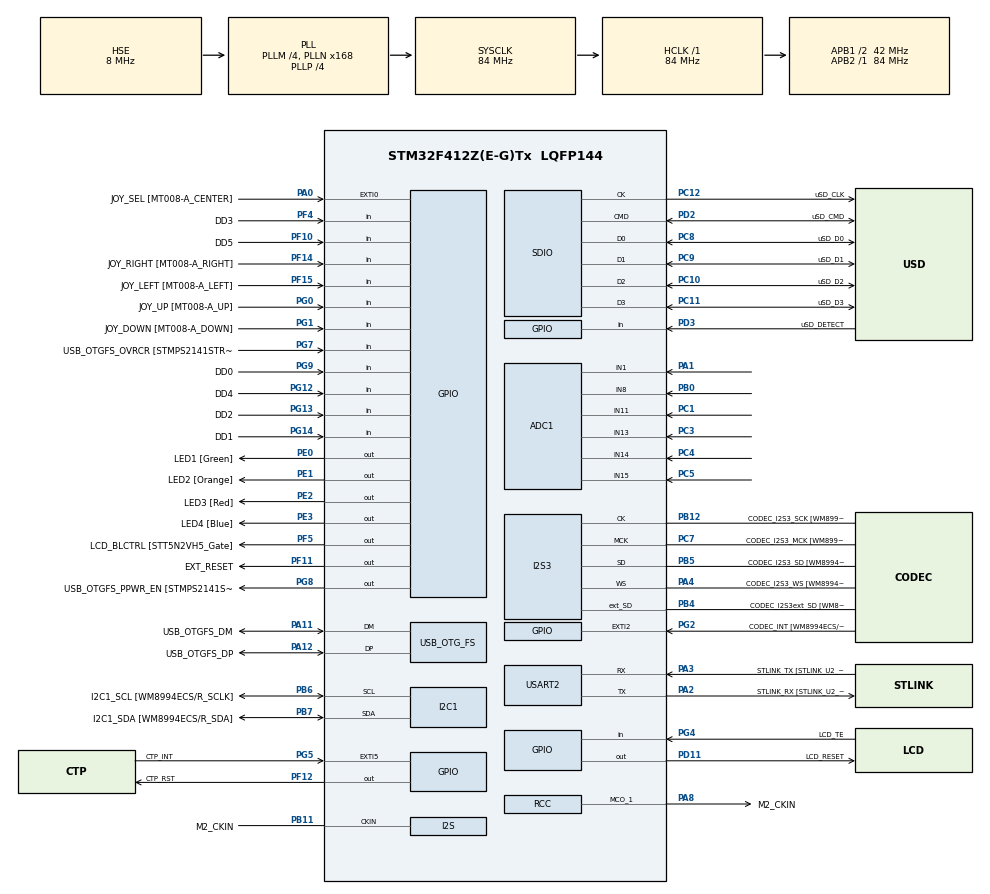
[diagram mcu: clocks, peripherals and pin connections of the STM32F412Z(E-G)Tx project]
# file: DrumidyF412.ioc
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ADC1.Channel-0\#ChannelRegularConversion=ADC_CHANNEL_1
ADC1.Channel-1\#ChannelRegularConversion=ADC_CHANNEL_11
ADC1.Channel-2\#ChannelRegularConversion=ADC_CHANNEL_13
ADC1.Channel-3\#ChannelRegularConversion=ADC_CHANNEL_14
ADC1.Channel-4\#ChannelRegularConversion=ADC_CHANNEL_15
ADC1.Channel-5\#ChannelRegularConversion=ADC_CHANNEL_8
ADC1.ClockPrescaler=ADC_CLOCK_SYNC_PCLK_DIV6
ADC1.ContinuousConvMode=DISABLE
ADC1.DMAContinuousRequests=ENABLE
ADC1.DiscontinuousConvMode=DISABLE
ADC1.EOCSelection=ADC_EOC_SINGLE_CONV
ADC1.NbrOfConversion=6
ADC1.NbrOfConversionFlag=1
ADC1.Rank-0\#ChannelRegularConversion=1
ADC1.Rank-1\#ChannelRegularConversion=2
ADC1.Rank-2\#ChannelRegularConversion=3
ADC1.Rank-3\#ChannelRegularConversion=4
ADC1.Rank-4\#ChannelRegularConversion=5
ADC1.Rank-5\#ChannelRegularConversion=6
ADC1.SamplingTime-0\#ChannelRegularConversion=ADC_SAMPLETIME_15CYCLES
ADC1.SamplingTime-1\#ChannelRegularConversion=ADC_SAMPLETIME_15CYCLES
ADC1.SamplingTime-2\#ChannelRegularConversion=ADC_SAMPLETIME_15CYCLES
ADC1.SamplingTime-3\#ChannelRegularConversion=ADC_SAMPLETIME_15CYCLES
ADC1.SamplingTime-4\#ChannelRegularConversion=ADC_SAMPLETIME_15CYCLES
ADC1.SamplingTime-5\#ChannelRegularConversion=ADC_SAMPLETIME_15CYCLES
ADC1.ScanConvMode=ENABLE
ADC1.master=1
Dma.ADC1.0.Direction=DMA_PERIPH_TO_MEMORY
Dma.ADC1.0.FIFOMode=DMA_FIFOMODE_DISABLE
Dma.ADC1.0.Instance=DMA2_Stream0
Dma.ADC1.0.MemDataAlignment=DMA_MDATAALIGN_WORD
Dma.ADC1.0.MemInc=DMA_MINC_ENABLE
Dma.ADC1.0.Mode=DMA_NORMAL
Dma.ADC1.0.PeriphDataAlignment=DMA_PDATAALIGN_WORD
Dma.ADC1.0.PeriphInc=DMA_PINC_DISABLE
Dma.ADC1.0.Priority=DMA_PRIORITY_LOW
Dma.Request0=ADC1
Dma.Request1=SPI3_TX
Dma.Request2=SDIO
Dma.SDIO.2.Direction=DMA_PERIPH_TO_MEMORY
Dma.SDIO.2.FIFOMode=DMA_FIFOMODE_ENABLE
Dma.SDIO.2.FIFOThreshold=DMA_FIFO_THRESHOLD_FULL
Dma.SDIO.2.Instance=DMA2_Stream3
Dma.SDIO.2.MemBurst=DMA_MBURST_INC4
Dma.SDIO.2.MemDataAlignment=DMA_MDATAALIGN_WORD
Dma.SDIO.2.MemInc=DMA_MINC_ENABLE
Dma.SDIO.2.Mode=DMA_PFCTRL
Dma.SDIO.2.PeriphBurst=DMA_PBURST_INC4
Dma.SDIO.2.PeriphDataAlignment=DMA_PDATAALIGN_WORD
Dma.SDIO.2.PeriphInc=DMA_PINC_DISABLE
Dma.SDIO.2.Priority=DMA_PRIORITY_HIGH
Dma.SPI3_TX.1.Direction=DMA_MEMORY_TO_PERIPH
Dma.SPI3_TX.1.FIFOMode=DMA_FIFOMODE_ENABLE
Dma.SPI3_TX.1.FIFOThreshold=DMA_FIFO_THRESHOLD_FULL
Dma.SPI3_TX.1.Instance=DMA1_Stream5
Dma.SPI3_TX.1.MemBurst=DMA_MBURST_SINGLE
Dma.SPI3_TX.1.MemDataAlignment=DMA_MDATAALIGN_HALFWORD
Dma.SPI3_TX.1.MemInc=DMA_MINC_ENABLE
Dma.SPI3_TX.1.Mode=DMA_CIRCULAR
Dma.SPI3_TX.1.PeriphBurst=DMA_PBURST_SINGLE
Dma.SPI3_TX.1.PeriphDataAlignment=DMA_PDATAALIGN_HALFWORD
Dma.SPI3_TX.1.PeriphInc=DMA_PINC_DISABLE
Dma.SPI3_TX.1.Priority=DMA_PRIORITY_VERY_HIGH
FATFS.BSP.number=1
FATFS.USE_DMA_CODE_SD=1
FATFS0.BSP.STBoard=false
FATFS0.BSP.api=Unknown
FATFS0.BSP.i2caddr=0
FATFS0.BSP.instance=PD3
FATFS0.BSP.ip=GPIO
FATFS0.BSP.mode=Input
FATFS0.BSP.name=Detect_SDIO
FATFS0.BSP.solution=PD3
I2S3.AudioFreq=I2S_AUDIOFREQ_48K
I2S3.ErrorAudioFreq=0.19 %
I2S3.FullDuplexMode=I2S_FULLDUPLEXMODE_ENABLE
I2S3.Instance=SPI$Index
I2S3.RealAudioFreq=48.095 KHz
I2S3.VirtualMode=I2S_MODE_MASTER
Mcu.Family=STM32F4
Mcu.Name=STM32F412Z(E-G)Tx
Mcu.Package=LQFP144
NVIC.ADC_IRQn=true\:0\:0\:false\:false\:true\:true\:true
NVIC.DMA1_Stream5_IRQn=true\:0\:0\:false\:false\:true\:false\:true
NVIC.DMA2_Stream0_IRQn=true\:1\:0\:true\:false\:true\:false\:true
NVIC.DMA2_Stream3_IRQn=true\:1\:0\:true\:false\:true\:false\:true
NVIC.OTG_FS_IRQn=true\:0\:0\:false\:false\:true\:true\:true
NVIC.PriorityGroup=NVIC_PRIORITYGROUP_4
NVIC.SDIO_IRQn=true\:1\:0\:true\:false\:true\:true\:true
NVIC.SPI3_IRQn=true\:1\:0\:true\:false\:true\:true\:true
NVIC.TIM2_IRQn=true\:0\:0\:false\:false\:true\:true\:true
NVIC.TIM4_IRQn=true\:0\:0\:false\:false\:true\:true\:true
NVIC.USART2_IRQn=true\:0\:0\:false\:false\:true\:true\:true
PA0.GPIO_Label=JOY_SEL [MT008-A_CENTER]
PA0.Signal=GPXTI0
PA1.Signal=ADCx_IN1
PA11.GPIO_Label=USB_OTGFS_DM
PA11.Mode=Device_Only
PA11.Signal=USB_OTG_FS_DM
PA12.GPIO_Label=USB_OTGFS_DP
PA12.Mode=Device_Only
PA12.Signal=USB_OTG_FS_DP
PA13.GPIO_Label=SWDIO
PA13.Mode=Serial_Wire
PA13.Signal=SYS_JTMS-SWDIO
PA14.GPIO_Label=SWCLK
PA14.Mode=Serial_Wire
PA14.Signal=SYS_JTCK-SWCLK
PA2.GPIO_Label=STLINK_RX [STLINK_U2_RX]
PA2.Mode=Asynchronous
PA2.Signal=USART2_TX
PA3.GPIO_Label=STLINK_TX [STLINK_U2_TX]
PA3.Mode=Asynchronous
PA3.Signal=USART2_RX
PA4.GPIO_Label=CODEC_I2S3_WS [WM8994ECS/R_LRCLK1]
PA4.Mode=Full_Duplex_Master
PA4.Signal=I2S3_WS
PA8.GPIO_Label=M2_CKIN
PA8.Mode=Clock-out-1
PA8.Signal=RCC_MCO_1
PB0.Signal=ADCx_IN8
PB10.GPIO_Label=I2C2_SCL
PB10.Signal=I2C2_SCL
PB11.GPIO_Label=M2_CKIN
PB11.Mode=Audio_ClockIn
PB11.Signal=I2S_CKIN
PB12.GPIO_Label=CODEC_I2S3_SCK [WM8994ECS/R_BCLK1]
PB12.Mode=Full_Duplex_Master
PB12.Signal=I2S3_CK
PB3.GPIO_Label=SWO
PB3.Signal=SYS_JTDO-SWO
PB4.GPIO_Label=CODEC_I2S3ext_SD [WM8994ECS/R_ACDAT1]
PB4.Mode=Full_Duplex_Master
PB4.Signal=I2S3_ext_SD
PB5.GPIO_Label=CODEC_I2S3_SD [WM8994ECS/R_DACDAT1]
PB5.Mode=Full_Duplex_Master
PB5.Signal=I2S3_SD
PB6.GPIO_Label=I2C1_SCL [WM8994ECS/R_SCLK]
PB6.GPIO_Pu=GPIO_PULLUP
PB6.Mode=I2C
PB6.Signal=I2C1_SCL
PB7.GPIO_Label=I2C1_SDA [WM8994ECS/R_SDA]
PB7.GPIO_Pu=GPIO_PULLUP
PB7.Mode=I2C
PB7.Signal=I2C1_SDA
PB9.GPIO_Label=I2C2_SDA
PB9.Signal=I2C2_SDA
PC1.Signal=ADCx_IN11
PC10.GPIO_Label=uSD_D2
PC10.Mode=SD_4_bits_Wide_bus
PC10.Signal=SDIO_D2
PC11.GPIO_Label=uSD_D3
PC11.Mode=SD_4_bits_Wide_bus
PC11.Signal=SDIO_D3
PC12.GPIO_Label=uSD_CLK
PC12.Mode=SD_4_bits_Wide_bus
PC12.Signal=SDIO_CK
PC14-OSC32_IN.Mode=LSE-External-Oscillator
PC14-OSC32_IN.Signal=RCC_OSC32_IN
PC15-OSC32_OUT.Mode=LSE-External-Oscillator
PC15-OSC32_OUT.Signal=RCC_OSC32_OUT
PC3.Signal=ADCx_IN13
PC4.Signal=ADCx_IN14
PC5.Signal=ADCx_IN15
PC7.GPIO_Label=CODEC_I2S3_MCK [WM8994ECS/R_MCLK1]
PC7.Mode=Master_Clock_Activated
PC7.Signal=I2S3_MCK
PC8.GPIO_Label=uSD_D0
PC8.Mode=SD_4_bits_Wide_bus
PC8.Signal=SDIO_D0
PC9.GPIO_Label=uSD_D1
PC9.Mode=SD_4_bits_Wide_bus
PC9.Signal=SDIO_D1
PD11.GPIO_Label=LCD_RESET
PD11.Signal=GPIO_Output
PD2.GPIO_Label=uSD_CMD
PD2.Mode=SD_4_bits_Wide_bus
PD2.Signal=SDIO_CMD
PD3.GPIO_Label=uSD_DETECT
PD3.Signal=GPIO_Input
PE0.GPIO_Label=LED1 [Green]
PE0.GPIO_ModeDefaultOutputPP=GPIO_MODE_OUTPUT_OD
PE0.Signal=GPIO_Output
PE1.GPIO_Label=LED2 [Orange]
PE1.GPIO_ModeDefaultOutputPP=GPIO_MODE_OUTPUT_OD
PE1.Signal=GPIO_Output
PE2.GPIO_Label=LED3 [Red]
PE2.GPIO_ModeDefaultOutputPP=GPIO_MODE_OUTPUT_OD
PE2.Signal=GPIO_Output
PE3.GPIO_Label=LED4 [Blue]
PE3.GPIO_ModeDefaultOutputPP=GPIO_MODE_OUTPUT_OD
PE3.Signal=GPIO_Output
PF10.GPIO_Label=DD5
PF10.GPIO_PuPd=GPIO_PULLUP
PF10.Signal=GPIO_Input
PF11.GPIO_Label=EXT_RESET
PF11.Signal=GPIO_Output
PF12.GPIO_Label=CTP_RST
PF12.Signal=GPIO_Output
PF14.GPIO_Label=JOY_RIGHT [MT008-A_RIGHT]
PF14.Signal=GPIO_Input
PF15.GPIO_Label=JOY_LEFT [MT008-A_LEFT]
PF15.Signal=GPIO_Input
PF4.GPIO_Label=DD3
PF4.GPIO_PuPd=GPIO_PULLUP
PF4.Signal=GPIO_Input
PF5.GPIO_Label=LCD_BLCTRL [STT5N2VH5_Gate]
PF5.Signal=GPIO_Output
PG0.GPIO_Label=JOY_UP [MT008-A_UP]
PG0.Signal=GPIO_Input
PG1.GPIO_Label=JOY_DOWN [MT008-A_DOWN]
PG1.Signal=GPIO_Input
PG12.GPIO_Label=DD4
PG12.GPIO_PuPd=GPIO_PULLUP
PG12.Signal=GPIO_Input
PG13.GPIO_Label=DD2
PG13.GPIO_PuPd=GPIO_PULLUP
PG13.Signal=GPIO_Input
PG14.GPIO_Label=DD1
PG14.GPIO_PuPd=GPIO_PULLUP
PG14.Signal=GPIO_Input
PG2.GPIO_Label=CODEC_INT [WM8994ECS/R_ADCLRCLK1/GPIO1]
PG2.Signal=GPXTI2
PG4.GPIO_Label=LCD_TE
PG4.Signal=GPIO_Input
PG5.GPIO_Label=CTP_INT
PG5.Signal=GPXTI5
PG7.GPIO_Label=USB_OTGFS_OVRCR [STMPS2141STR_FAULT]
PG7.Signal=GPIO_Input
PG8.GPIO_Label=USB_OTGFS_PPWR_EN [STMPS2141STR_EN]
PG8.GPIO_ModeDefaultOutputPP=GPIO_MODE_OUTPUT_OD
PG8.PinState=GPIO_PIN_SET
PG8.Signal=GPIO_Output
PG9.GPIO_Label=DD0
PG9.GPIO_PuPd=GPIO_PULLUP
PG9.Signal=GPIO_Input
PH0\ -\ OSC_IN.GPIO_Label=STLK_MCO
PH0\ -\ OSC_IN.Mode=HSE-External-Clock-Source
PH0\ -\ OSC_IN.Signal=RCC_OSC_IN
PH1\ -\ OSC_OUT.Mode=HSE-External-Clock-Source
PH1\ -\ OSC_OUT.Signal=RCC_OSC_OUT
ProjectManager.HeapSize=0x400
ProjectManager.StackSize=0x800
ProjectManager.TargetToolchain=STM32CubeIDE
RCC.48MHZClocksFreq_Value=48000000
RCC.AHBFreq_Value=84000000
RCC.APB1CLKDivider=RCC_HCLK_DIV2
RCC.APB1Freq_Value=42000000
RCC.APB1TimFreq_Value=84000000
RCC.APB2Freq_Value=84000000
RCC.APB2TimFreq_Value=84000000
RCC.CortexFreq_Value=84000000
RCC.HCLKFreq_Value=84000000
RCC.HSE_VALUE=8000000
RCC.HSI_VALUE=16000000
RCC.PLLI2SM=4
RCC.PLLI2SN=197
RCC.PLLI2SR=4
RCC.PLLM=4
RCC.PLLN=168
RCC.PLLP=RCC_PLLP_DIV4
RCC.PLLQ=7
RCC.SYSCLKFreq_VALUE=84000000
RCC.SYSCLKSource=RCC_SYSCLKSOURCE_PLLCLK
RCC.USBFreq_Value=48000000
RCC.VCOOutputFreq_Value=336000000
SDIO.ClockDiv=2
SH.ADCx_IN1.0=ADC1_IN1,IN1
SH.ADCx_IN11.0=ADC1_IN11,IN11
SH.ADCx_IN13.0=ADC1_IN13,IN13
SH.ADCx_IN14.0=ADC1_IN14,IN14
SH.ADCx_IN15.0=ADC1_IN15,IN15
SH.ADCx_IN8.0=ADC1_IN8,IN8
TIM2.AutoReloadPreload=TIM_AUTORELOAD_PRELOAD_ENABLE
TIM2.Period=30000000
TIM4.AutoReloadPreload=TIM_AUTORELOAD_PRELOAD_ENABLE
TIM4.Period=8400
USART2.VirtualMode=VM_ASYNC
USB_DEVICE.APP_RX_DATA_SIZE=1000
USB_DEVICE.APP_TX_DATA_SIZE=1000
USB_DEVICE.CLASS_NAME_FS=CDC
USB_DEVICE.CONFIGURATION_STRING_CDC_FS=Midi Config
USB_DEVICE.INTERFACE_STRING_CDC_FS=Midi Interface
USB_DEVICE.PRODUCT_STRING_CDC_FS=Drumidy v2.0
USB_DEVICE.VirtualMode=Cdc
USB_DEVICE.VirtualModeFS=Cdc_FS
USB_OTG_FS.VirtualMode=Device_Only
VP_FATFS_VS_SDIO.Mode=SDIO
VP_TIM2_VS_ClockSourceINT.Mode=Internal
VP_TIM4_VS_ClockSourceINT.Mode=Internal
VP_USB_DEVICE_VS_USB_DEVICE_CDC_FS.Mode=CDC_FS
board=STM32F412G-DISCO

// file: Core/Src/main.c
/* USER CODE BEGIN Header */
/**
  ******************************************************************************
  * @file           : main.c
  * @brief          : Main program body
  ******************************************************************************
  * @attention
  *
  * Copyright (c) 2023 STMicroelectronics.
  * All rights reserved.
  *
  * This software is licensed under terms that can be found in the LICENSE file
  * in the root directory of this software component.
  * If no LICENSE file comes with this software, it is provided AS-IS.
  *
  ******************************************************************************
  */
/* USER CODE END Header */
#include "main.h"
#include "fatfs.h"
#include "usb_device.h"

/* USER CODE BEGIN Includes */
#include <string.h>
#include <stdio.h>
#include <usbd_cdc.h>
#include "midi.h"
#include "drumidy.h"
#include "wavFile.h"
//#include "audioExample.h"
#include "audioFromSdCard.h"
/* USER CODE END Includes */

/* USER CODE BEGIN PTD */
#define OFF_DELAY_MS 200
#define FLASH_USER_START_ADDR 	0x08040000	//0x0804 0000 		//0x0801 F800
const volatile uint32_t *userConfig=(const volatile uint32_t *)FLASH_USER_START_ADDR;

#define NUMBER_OF_CHANNELS 6

char ASCIILOGO[] = "\n"\
"  ___                 _    _\n"\
" |   \\ _ _ _  _ _ __ (_)__| |_  _ \n"\
" | |) | '_| || | '  \\| / _` | || |\n"\
" |___/|_|  \\_,_|_|_|_|_\\__,_|\\_, |\n"\
"     .-.,     ,--. ,--.      |__/ \n"\
"    `/|~\\     \\__/T`--'     . \n"\
"    x |`' __   ,-~^~-.___ ==I== \n"\
"      |  |--| /       \\__}  | \n"\
"      |  |  |{   /~\\   }    | \n"\
"     /|\\ \\__/ \\  \\_/  /|   /|\\ \n"\
"    / | \\|  | /`~-_-~'X.\\ //| \\ \n\n"\
"= Send any char for configuration =\n";

/* USER CODE END PTD */

/* USER CODE BEGIN PD */

DRUM channel[NUMBER_OF_CHANNELS];	// array of drums

// ADC buffers0
uint32_t adc_buf[NUMBER_OF_CHANNELS];
// channel values
uint16_t adc_val[NUMBER_OF_CHANNELS];

GPIO_PinState aux_current_state[NUMBER_OF_CHANNELS];

uint32_t saved_config[64];

char buffer_out[1000];			// USB Buffers
uint8_t buffer_in[64];

// MIDI operation
uint8_t upd_active_sens = 0;	//flag for active sense, triggered every 300ms
uint8_t config_Mode[1] = {0};		// flag for activating config over serial

/* USER CODE END PD */

ADC_HandleTypeDef hadc1;
DMA_HandleTypeDef hdma_adc1;

I2C_HandleTypeDef hi2c1;

I2S_HandleTypeDef hi2s3;
DMA_HandleTypeDef hdma_spi3_tx;

SD_HandleTypeDef hsd;
DMA_HandleTypeDef hdma_sdio;

TIM_HandleTypeDef htim2;
TIM_HandleTypeDef htim4;

UART_HandleTypeDef huart2;

void SystemClock_Config(void);
static void MX_GPIO_Init(void);
static void MX_DMA_Init(void);
static void MX_I2S3_Init(void);
static void MX_USART2_UART_Init(void);
static void MX_ADC1_Init(void);
static void MX_TIM2_Init(void);
static void MX_TIM4_Init(void);
static void MX_SDIO_SD_Init(void);
static void MX_I2C1_Init(void);
/* USER CODE BEGIN PFP */
uint8_t CDC_Transmit_FS(uint8_t* Buf, uint16_t Len);

void getAuxState(GPIO_PinState *_state);
void checkPiezoChannels();
void handleConfigFromUart(void);

void sendDebug (uint8_t _ch, uint8_t _aux);
uint8_t Save_Setting(uint8_t _rst);
uint8_t Load_Setting();
int get_num_from_uart(uint8_t _len);
uint8_t UartConfigDialog();

uint32_t dataReceivedSize = 0;
volatile char flag_New_Settings;
/* USER CODE END PFP */

/* USER CODE BEGIN 0 */
void HAL_TIM_PeriodElapsedCallback(TIM_HandleTypeDef *htim) {
	// 10kHz trigger, 0.1ms
	if (htim->Instance == htim4.Instance) {
		HAL_ADC_Start_DMA(&hadc1, (uint32_t*) &adc_buf[0], NUMBER_OF_CHANNELS);
	}

	// 3.33Hz active sensing, 300ms
	if (htim->Instance == htim2.Instance) {
		upd_active_sens = 1;
	}
}

void HAL_UART_RxCpltCallback(UART_HandleTypeDef *huart) {
	if (huart->Instance == huart2.Instance) {
		buffer_in[15] = 1;
	}
}

void HAL_ADC_ConvCpltCallback(ADC_HandleTypeDef *hadc) {
	if (hadc->Instance == hadc1.Instance) {
		for (uint8_t i = 0; i < NUMBER_OF_CHANNELS; i++) {
			adc_val[i] = adc_buf[i];
		}

		getAuxState(aux_current_state);

		setStepTime(HAL_GetTick());

		for (uint8_t i = 0; i < NUMBER_OF_CHANNELS; i++) {
			Update_channel(&channel[i], adc_val[i], aux_current_state[i]);
		}
	}
}
/* USER CODE END 0 */

int main(void)
{

  /* MCU Configuration--------------------------------------------------------*/

  /* Reset of all peripherals, Initializes the Flash interface and the Systick. */
  HAL_Init();

  /* Configure the system clock */
  SystemClock_Config();

  /* Initialize all configured peripherals */
  MX_GPIO_Init();
  MX_DMA_Init();
  MX_I2S3_Init();
  MX_USART2_UART_Init();
  MX_ADC1_Init();
  MX_TIM2_Init();
  MX_TIM4_Init();
  MX_USB_DEVICE_Init();
  MX_SDIO_SD_Init();
  MX_FATFS_Init();
  MX_I2C1_Init();
  /* USER CODE BEGIN 2 */

	HAL_ADC_Start(&hadc1);
	HAL_Delay(200);

	/// **************************
	/// ******* Defaul CFG *******
	/// **************************
	getAuxState(aux_current_state);

	initDrum(&channel[0], HHCLOSE, HHCLOSE, MESH_PAD_AUTOAUX, aux_current_state[0]);
	initDrum(&channel[1], TOMF, TOMF, MESH_PAD_AUTOAUX, aux_current_state[1]);
	initDrum(&channel[2], HHPEDAL, HHPEDAL, MESH_PAD_AUTOAUX, aux_current_state[2]);
	initDrum(&channel[3], TOM3, TOM3, MESH_PAD_AUTOAUX, aux_current_state[3]);
	initDrum(&channel[4], HHOPEN, HHOPEN, MESH_PAD_AUTOAUX, aux_current_state[4]);
	initDrum(&channel[5], TOM2, TOM2, MESH_PAD_AUTOAUX, aux_current_state[5]);
//  initDrum(&channel[6], TOMF , TOMF  	, MESH_PAD_AUTOAUX	, aux_current_state[6]);
//
//  // cymbals
//  initDrum(&channel[7], CRASH, CRASH 	, CYMBAL_MUTE			, aux_current_state[7]);	// CH7 aux disabled
//  initDrum(&channel[8], RIDE ,  BELL 	, CYMBAL_2_ZONE			, aux_current_state[8]);

	// === Previous Settings ===
	sendUart(ASCIILOGO);
	HAL_Delay(500);

	Load_Setting();

	// start waiting for serial commands
	HAL_Delay(200);
	config_Mode[0] = 0;
	HAL_UART_Receive_IT (&huart2, &config_Mode[0], 1);

	/// **************************
	/// ******* LETS ROCK! *******
	/// **************************
	HAL_TIM_Base_Start_IT(&htim2); //AS
	HAL_TIM_Base_Start_IT(&htim4); //ADC

	sdCardTextExample();

  /* USER CODE END 2 */

  /* Infinite loop */
  /* USER CODE BEGIN WHILE */
	while (1) {
		handleConfigFromUart();
		handleAudioStream();
		sendMidiActiveSense(&upd_active_sens);
		checkPiezoChannels();
    /* USER CODE END WHILE */

  }
}

void SystemClock_Config(void)
{
  RCC_OscInitTypeDef RCC_OscInitStruct = {0};
  RCC_ClkInitTypeDef RCC_ClkInitStruct = {0};

  /** Configure the main internal regulator output voltage
  */
  __HAL_RCC_PWR_CLK_ENABLE();
  __HAL_PWR_VOLTAGESCALING_CONFIG(PWR_REGULATOR_VOLTAGE_SCALE1);
  /** Initializes the RCC Oscillators according to the specified parameters
  * in the RCC_OscInitTypeDef structure.
  */
  RCC_OscInitStruct.OscillatorType = RCC_OSCILLATORTYPE_HSI|RCC_OSCILLATORTYPE_HSE;
  RCC_OscInitStruct.HSEState = RCC_HSE_BYPASS;
  RCC_OscInitStruct.HSIState = RCC_HSI_ON;
  RCC_OscInitStruct.HSICalibrationValue = RCC_HSICALIBRATION_DEFAULT;
  RCC_OscInitStruct.PLL.PLLState = RCC_PLL_ON;
  RCC_OscInitStruct.PLL.PLLSource = RCC_PLLSOURCE_HSE;
  RCC_OscInitStruct.PLL.PLLM = 4;
  RCC_OscInitStruct.PLL.PLLN = 168;
  RCC_OscInitStruct.PLL.PLLP = RCC_PLLP_DIV4;
  RCC_OscInitStruct.PLL.PLLQ = 7;
  RCC_OscInitStruct.PLL.PLLR = 2;
  if (HAL_RCC_OscConfig(&RCC_OscInitStruct) != HAL_OK)
  {
    Error_Handler();
  }
  /** Initializes the CPU, AHB and APB buses clocks
  */
  RCC_ClkInitStruct.ClockType = RCC_CLOCKTYPE_HCLK|RCC_CLOCKTYPE_SYSCLK
                              |RCC_CLOCKTYPE_PCLK1|RCC_CLOCKTYPE_PCLK2;
  RCC_ClkInitStruct.SYSCLKSource = RCC_SYSCLKSOURCE_PLLCLK;
  RCC_ClkInitStruct.AHBCLKDivider = RCC_SYSCLK_DIV1;
  RCC_ClkInitStruct.APB1CLKDivider = RCC_HCLK_DIV2;
  RCC_ClkInitStruct.APB2CLKDivider = RCC_HCLK_DIV1;

  if (HAL_RCC_ClockConfig(&RCC_ClkInitStruct, FLASH_LATENCY_2) != HAL_OK)
  {
    Error_Handler();
  }
  HAL_RCC_MCOConfig(RCC_MCO1, RCC_MCO1SOURCE_HSI, RCC_MCODIV_1);
}

static void MX_ADC1_Init(void)
{

  ADC_ChannelConfTypeDef sConfig = {0};

  /** Configure the global features of the ADC (Clock, Resolution, Data Alignment and number of conversion)
  */
  hadc1.Instance = ADC1;
  hadc1.Init.ClockPrescaler = ADC_CLOCK_SYNC_PCLK_DIV6;
  hadc1.Init.Resolution = ADC_RESOLUTION_12B;
  hadc1.Init.ScanConvMode = ENABLE;
  hadc1.Init.ContinuousConvMode = DISABLE;
  hadc1.Init.DiscontinuousConvMode = DISABLE;
  hadc1.Init.ExternalTrigConvEdge = ADC_EXTERNALTRIGCONVEDGE_NONE;
  hadc1.Init.ExternalTrigConv = ADC_SOFTWARE_START;
  hadc1.Init.DataAlign = ADC_DATAALIGN_RIGHT;
  hadc1.Init.NbrOfConversion = 6;
  hadc1.Init.DMAContinuousRequests = ENABLE;
  hadc1.Init.EOCSelection = ADC_EOC_SINGLE_CONV;
  if (HAL_ADC_Init(&hadc1) != HAL_OK)
  {
    Error_Handler();
  }
  /** Configure for the selected ADC regular channel its corresponding rank in the sequencer and its sample time.
  */
  sConfig.Channel = ADC_CHANNEL_1;
  sConfig.Rank = 1;
  sConfig.SamplingTime = ADC_SAMPLETIME_15CYCLES;
  if (HAL_ADC_ConfigChannel(&hadc1, &sConfig) != HAL_OK)
  {
    Error_Handler();
  }
  /** Configure for the selected ADC regular channel its corresponding rank in the sequencer and its sample time.
  */
  sConfig.Channel = ADC_CHANNEL_11;
  sConfig.Rank = 2;
  if (HAL_ADC_ConfigChannel(&hadc1, &sConfig) != HAL_OK)
  {
    Error_Handler();
  }
  /** Configure for the selected ADC regular channel its corresponding rank in the sequencer and its sample time.
  */
  sConfig.Channel = ADC_CHANNEL_13;
  sConfig.Rank = 3;
  if (HAL_ADC_ConfigChannel(&hadc1, &sConfig) != HAL_OK)
  {
    Error_Handler();
  }
  /** Configure for the selected ADC regular channel its corresponding rank in the sequencer and its sample time.
  */
  sConfig.Channel = ADC_CHANNEL_14;
  sConfig.Rank = 4;
  if (HAL_ADC_ConfigChannel(&hadc1, &sConfig) != HAL_OK)
  {
    Error_Handler();
  }
  /** Configure for the selected ADC regular channel its corresponding rank in the sequencer and its sample time.
  */
  sConfig.Channel = ADC_CHANNEL_15;
  sConfig.Rank = 5;
  if (HAL_ADC_ConfigChannel(&hadc1, &sConfig) != HAL_OK)
  {
    Error_Handler();
  }
  /** Configure for the selected ADC regular channel its corresponding rank in the sequencer and its sample time.
  */
  sConfig.Channel = ADC_CHANNEL_8;
  sConfig.Rank = 6;
  if (HAL_ADC_ConfigChannel(&hadc1, &sConfig) != HAL_OK)
  {
    Error_Handler();
  }

}

static void MX_I2C1_Init(void)
{

  hi2c1.Instance = I2C1;
  hi2c1.Init.ClockSpeed = 100000;
  hi2c1.Init.DutyCycle = I2C_DUTYCYCLE_2;
  hi2c1.Init.OwnAddress1 = 0;
  hi2c1.Init.AddressingMode = I2C_ADDRESSINGMODE_7BIT;
  hi2c1.Init.DualAddressMode = I2C_DUALADDRESS_DISABLE;
  hi2c1.Init.OwnAddress2 = 0;
  hi2c1.Init.GeneralCallMode = I2C_GENERALCALL_DISABLE;
  hi2c1.Init.NoStretchMode = I2C_NOSTRETCH_DISABLE;
  if (HAL_I2C_Init(&hi2c1) != HAL_OK)
  {
    Error_Handler();
  }

}

static void MX_I2S3_Init(void)
{

  hi2s3.Instance = SPI3;
  hi2s3.Init.Mode = I2S_MODE_MASTER_TX;
  hi2s3.Init.Standard = I2S_STANDARD_PHILIPS;
  hi2s3.Init.DataFormat = I2S_DATAFORMAT_16B;
  hi2s3.Init.MCLKOutput = I2S_MCLKOUTPUT_ENABLE;
  hi2s3.Init.AudioFreq = I2S_AUDIOFREQ_48K;
  hi2s3.Init.CPOL = I2S_CPOL_LOW;
  hi2s3.Init.ClockSource = I2S_CLOCK_PLL;
  hi2s3.Init.FullDuplexMode = I2S_FULLDUPLEXMODE_ENABLE;
  if (HAL_I2S_Init(&hi2s3) != HAL_OK)
  {
    Error_Handler();
  }

}

static void MX_SDIO_SD_Init(void)
{

  hsd.Instance = SDIO;
  hsd.Init.ClockEdge = SDIO_CLOCK_EDGE_RISING;
  hsd.Init.ClockBypass = SDIO_CLOCK_BYPASS_DISABLE;
  hsd.Init.ClockPowerSave = SDIO_CLOCK_POWER_SAVE_DISABLE;
  hsd.Init.BusWide = SDIO_BUS_WIDE_1B;
  hsd.Init.HardwareFlowControl = SDIO_HARDWARE_FLOW_CONTROL_DISABLE;
  hsd.Init.ClockDiv = 2;

}

static void MX_TIM2_Init(void)
{

  TIM_ClockConfigTypeDef sClockSourceConfig = {0};
  TIM_MasterConfigTypeDef sMasterConfig = {0};

  htim2.Instance = TIM2;
  htim2.Init.Prescaler = 0;
  htim2.Init.CounterMode = TIM_COUNTERMODE_UP;
  htim2.Init.Period = 30000000;
  htim2.Init.ClockDivision = TIM_CLOCKDIVISION_DIV1;
  htim2.Init.AutoReloadPreload = TIM_AUTORELOAD_PRELOAD_ENABLE;
  if (HAL_TIM_Base_Init(&htim2) != HAL_OK)
  {
    Error_Handler();
  }
  sClockSourceConfig.ClockSource = TIM_CLOCKSOURCE_INTERNAL;
  if (HAL_TIM_ConfigClockSource(&htim2, &sClockSourceConfig) != HAL_OK)
  {
    Error_Handler();
  }
  sMasterConfig.MasterOutputTrigger = TIM_TRGO_RESET;
  sMasterConfig.MasterSlaveMode = TIM_MASTERSLAVEMODE_DISABLE;
  if (HAL_TIMEx_MasterConfigSynchronization(&htim2, &sMasterConfig) != HAL_OK)
  {
    Error_Handler();
  }

}

static void MX_TIM4_Init(void)
{

  TIM_ClockConfigTypeDef sClockSourceConfig = {0};
  TIM_MasterConfigTypeDef sMasterConfig = {0};

  htim4.Instance = TIM4;
  htim4.Init.Prescaler = 0;
  htim4.Init.CounterMode = TIM_COUNTERMODE_UP;
  htim4.Init.Period = 8400;
  htim4.Init.ClockDivision = TIM_CLOCKDIVISION_DIV1;
  htim4.Init.AutoReloadPreload = TIM_AUTORELOAD_PRELOAD_ENABLE;
  if (HAL_TIM_Base_Init(&htim4) != HAL_OK)
  {
    Error_Handler();
  }
  sClockSourceConfig.ClockSource = TIM_CLOCKSOURCE_INTERNAL;
  if (HAL_TIM_ConfigClockSource(&htim4, &sClockSourceConfig) != HAL_OK)
  {
    Error_Handler();
  }
  sMasterConfig.MasterOutputTrigger = TIM_TRGO_RESET;
  sMasterConfig.MasterSlaveMode = TIM_MASTERSLAVEMODE_DISABLE;
  if (HAL_TIMEx_MasterConfigSynchronization(&htim4, &sMasterConfig) != HAL_OK)
  {
    Error_Handler();
  }

}

static void MX_USART2_UART_Init(void)
{

  huart2.Instance = USART2;
  huart2.Init.BaudRate = 115200;
  huart2.Init.WordLength = UART_WORDLENGTH_8B;
  huart2.Init.StopBits = UART_STOPBITS_1;
  huart2.Init.Parity = UART_PARITY_NONE;
  huart2.Init.Mode = UART_MODE_TX_RX;
  huart2.Init.HwFlowCtl = UART_HWCONTROL_NONE;
  huart2.Init.OverSampling = UART_OVERSAMPLING_16;
  if (HAL_UART_Init(&huart2) != HAL_OK)
  {
    Error_Handler();
  }

}

static void MX_DMA_Init(void)
{

  /* DMA controller clock enable */
  __HAL_RCC_DMA2_CLK_ENABLE();
  __HAL_RCC_DMA1_CLK_ENABLE();

  /* DMA interrupt init */
  /* DMA1_Stream5_IRQn interrupt configuration */
  HAL_NVIC_SetPriority(DMA1_Stream5_IRQn, 0, 0);
  HAL_NVIC_EnableIRQ(DMA1_Stream5_IRQn);
  /* DMA2_Stream0_IRQn interrupt configuration */
  HAL_NVIC_SetPriority(DMA2_Stream0_IRQn, 1, 0);
  HAL_NVIC_EnableIRQ(DMA2_Stream0_IRQn);
  /* DMA2_Stream3_IRQn interrupt configuration */
  HAL_NVIC_SetPriority(DMA2_Stream3_IRQn, 1, 0);
  HAL_NVIC_EnableIRQ(DMA2_Stream3_IRQn);

}

static void MX_GPIO_Init(void)
{
  GPIO_InitTypeDef GPIO_InitStruct = {0};

  /* GPIO Ports Clock Enable */
  __HAL_RCC_GPIOE_CLK_ENABLE();
  __HAL_RCC_GPIOC_CLK_ENABLE();
  __HAL_RCC_GPIOF_CLK_ENABLE();
  __HAL_RCC_GPIOH_CLK_ENABLE();
  __HAL_RCC_GPIOA_CLK_ENABLE();
  __HAL_RCC_GPIOB_CLK_ENABLE();
  __HAL_RCC_GPIOG_CLK_ENABLE();
  __HAL_RCC_GPIOD_CLK_ENABLE();

  /*Configure GPIO pin Output Level */
  HAL_GPIO_WritePin(GPIOE, LED3_Pin|LED4_Pin|LED1_Pin|LED2_Pin, GPIO_PIN_RESET);

  /*Configure GPIO pin Output Level */
  HAL_GPIO_WritePin(GPIOF, LCD_BLCTRL_Pin|EXT_RESET_Pin|CTP_RST_Pin, GPIO_PIN_RESET);

  /*Configure GPIO pin Output Level */
  HAL_GPIO_WritePin(LCD_RESET_GPIO_Port, LCD_RESET_Pin, GPIO_PIN_RESET);

  /*Configure GPIO pin Output Level */
  HAL_GPIO_WritePin(USB_OTGFS_PPWR_EN_GPIO_Port, USB_OTGFS_PPWR_EN_Pin, GPIO_PIN_SET);

  /*Configure GPIO pins : LED3_Pin LED4_Pin LED1_Pin LED2_Pin */
  GPIO_InitStruct.Pin = LED3_Pin|LED4_Pin|LED1_Pin|LED2_Pin;
  GPIO_InitStruct.Mode = GPIO_MODE_OUTPUT_OD;
  GPIO_InitStruct.Pull = GPIO_NOPULL;
  GPIO_InitStruct.Speed = GPIO_SPEED_FREQ_LOW;
  HAL_GPIO_Init(GPIOE, &GPIO_InitStruct);

  /*Configure GPIO pins : DD3_Pin DD5_Pin */
  GPIO_InitStruct.Pin = DD3_Pin|DD5_Pin;
  GPIO_InitStruct.Mode = GPIO_MODE_INPUT;
  GPIO_InitStruct.Pull = GPIO_PULLUP;
  HAL_GPIO_Init(GPIOF, &GPIO_InitStruct);

  /*Configure GPIO pins : LCD_BLCTRL_Pin EXT_RESET_Pin CTP_RST_Pin */
  GPIO_InitStruct.Pin = LCD_BLCTRL_Pin|EXT_RESET_Pin|CTP_RST_Pin;
  GPIO_InitStruct.Mode = GPIO_MODE_OUTPUT_PP;
  GPIO_InitStruct.Pull = GPIO_NOPULL;
  GPIO_InitStruct.Speed = GPIO_SPEED_FREQ_LOW;
  HAL_GPIO_Init(GPIOF, &GPIO_InitStruct);

  /*Configure GPIO pin : JOY_SEL_Pin */
  GPIO_InitStruct.Pin = JOY_SEL_Pin;
  GPIO_InitStruct.Mode = GPIO_MODE_IT_RISING;
  GPIO_InitStruct.Pull = GPIO_NOPULL;
  HAL_GPIO_Init(JOY_SEL_GPIO_Port, &GPIO_InitStruct);

  /*Configure GPIO pins : JOY_RIGHT_Pin JOY_LEFT_Pin */
  GPIO_InitStruct.Pin = JOY_RIGHT_Pin|JOY_LEFT_Pin;
  GPIO_InitStruct.Mode = GPIO_MODE_INPUT;
  GPIO_InitStruct.Pull = GPIO_NOPULL;
  HAL_GPIO_Init(GPIOF, &GPIO_InitStruct);

  /*Configure GPIO pins : JOY_UP_Pin JOY_DOWN_Pin LCD_TE_Pin USB_OTGFS_OVRCR_Pin */
  GPIO_InitStruct.Pin = JOY_UP_Pin|JOY_DOWN_Pin|LCD_TE_Pin|USB_OTGFS_OVRCR_Pin;
  GPIO_InitStruct.Mode = GPIO_MODE_INPUT;
  GPIO_InitStruct.Pull = GPIO_NOPULL;
  HAL_GPIO_Init(GPIOG, &GPIO_InitStruct);

  /*Configure GPIO pin : I2C2_SCL_Pin */
  GPIO_InitStruct.Pin = I2C2_SCL_Pin;
  GPIO_InitStruct.Mode = GPIO_MODE_AF_OD;
  GPIO_InitStruct.Pull = GPIO_NOPULL;
  GPIO_InitStruct.Speed = GPIO_SPEED_FREQ_VERY_HIGH;
  GPIO_InitStruct.Alternate = GPIO_AF4_I2C2;
  HAL_GPIO_Init(I2C2_SCL_GPIO_Port, &GPIO_InitStruct);

  /*Configure GPIO pin : M2_CKIN_Pin */
  GPIO_InitStruct.Pin = M2_CKIN_Pin;
  GPIO_InitStruct.Mode = GPIO_MODE_AF_PP;
  GPIO_InitStruct.Pull = GPIO_NOPULL;
  GPIO_InitStruct.Speed = GPIO_SPEED_FREQ_LOW;
  GPIO_InitStruct.Alternate = GPIO_AF5_SPI1;
  HAL_GPIO_Init(M2_CKIN_GPIO_Port, &GPIO_InitStruct);

  /*Configure GPIO pin : LCD_RESET_Pin */
  GPIO_InitStruct.Pin = LCD_RESET_Pin;
  GPIO_InitStruct.Mode = GPIO_MODE_OUTPUT_PP;
  GPIO_InitStruct.Pull = GPIO_NOPULL;
  GPIO_InitStruct.Speed = GPIO_SPEED_FREQ_LOW;
  HAL_GPIO_Init(LCD_RESET_GPIO_Port, &GPIO_InitStruct);

  /*Configure GPIO pins : CODEC_INT_Pin CTP_INT_Pin */
  GPIO_InitStruct.Pin = CODEC_INT_Pin|CTP_INT_Pin;
  GPIO_InitStruct.Mode = GPIO_MODE_IT_RISING;
  GPIO_InitStruct.Pull = GPIO_NOPULL;
  HAL_GPIO_Init(GPIOG, &GPIO_InitStruct);

  /*Configure GPIO pin : USB_OTGFS_PPWR_EN_Pin */
  GPIO_InitStruct.Pin = USB_OTGFS_PPWR_EN_Pin;
  GPIO_InitStruct.Mode = GPIO_MODE_OUTPUT_OD;
  GPIO_InitStruct.Pull = GPIO_NOPULL;
  GPIO_InitStruct.Speed = GPIO_SPEED_FREQ_LOW;
  HAL_GPIO_Init(USB_OTGFS_PPWR_EN_GPIO_Port, &GPIO_InitStruct);

  /*Configure GPIO pin : M2_CKINA8_Pin */
  GPIO_InitStruct.Pin = M2_CKINA8_Pin;
  GPIO_InitStruct.Mode = GPIO_MODE_AF_PP;
  GPIO_InitStruct.Pull = GPIO_NOPULL;
  GPIO_InitStruct.Speed = GPIO_SPEED_FREQ_LOW;
  GPIO_InitStruct.Alternate = GPIO_AF0_MCO;
  HAL_GPIO_Init(M2_CKINA8_GPIO_Port, &GPIO_InitStruct);

  /*Configure GPIO pin : uSD_DETECT_Pin */
  GPIO_InitStruct.Pin = uSD_DETECT_Pin;
  GPIO_InitStruct.Mode = GPIO_MODE_INPUT;
  GPIO_InitStruct.Pull = GPIO_NOPULL;
  HAL_GPIO_Init(uSD_DETECT_GPIO_Port, &GPIO_InitStruct);

  /*Configure GPIO pins : DD0_Pin DD4_Pin DD2_Pin DD1_Pin */
  GPIO_InitStruct.Pin = DD0_Pin|DD4_Pin|DD2_Pin|DD1_Pin;
  GPIO_InitStruct.Mode = GPIO_MODE_INPUT;
  GPIO_InitStruct.Pull = GPIO_PULLUP;
  HAL_GPIO_Init(GPIOG, &GPIO_InitStruct);

  /*Configure GPIO pin : I2C2_SDA_Pin */
  GPIO_InitStruct.Pin = I2C2_SDA_Pin;
  GPIO_InitStruct.Mode = GPIO_MODE_AF_OD;
  GPIO_InitStruct.Pull = GPIO_NOPULL;
  GPIO_InitStruct.Speed = GPIO_SPEED_FREQ_VERY_HIGH;
  GPIO_InitStruct.Alternate = GPIO_AF9_I2C2;
  HAL_GPIO_Init(I2C2_SDA_GPIO_Port, &GPIO_InitStruct);

}

/* USER CODE BEGIN 4 */

void sendUart (char *_msg){
	HAL_UART_Transmit(&huart2, (uint8_t*) _msg, strlen((char const*) _msg), 50);
}

void handleConfigFromUart(void){
	while (config_Mode[0]) {

		uint8_t rs = UartConfigDialog();

		if ((rs == 1) || (rs == 2)) {
			rs = Save_Setting(0);
			sprintf(buffer_out, "New configuration saved (%X)\n", rs);
			sendUart(buffer_out);
		}
		if (rs == 99) {
			rs = Save_Setting(1);
			sprintf(buffer_out, "Reset to default values, restart the device (%X)\n", rs);
			sendUart(buffer_out);
		}
		config_Mode[0] = 0;
		HAL_UART_Receive_IT(&huart2, &config_Mode[0], 1);
	}
}

void checkPiezoChannels(){
	int _volume;
	for (uint8_t ch = 0; ch < NUMBER_OF_CHANNELS; ch++) {

		if (channel[ch].main_rdy) {
			channel[ch].main_rdy = 0;

			// custom volume calculation for mesh
			if (channel[ch].chnl_type < 2) {
				_volume = (int) (100.
						* (float) (channel[ch].main_rdy_height - PEAK_THRESHOLD)
						/ 4096. * 100. / (float) channel[ch].peak_volume_norm);
				if ((channel[ch].chnl_type == MESH_RIM_AUTOAUX)
						&& (channel[ch].main_rdy_usealt))
					_volume = _volume * 4;
			} else {
				//volume for cymbals
				_volume = (int) (100.
						* (float) (channel[ch].main_rdy_height - PEAK_THRESHOLD)
						/ 4096. * 100. / (float) channel[ch].peak_volume_norm
						* 2);
			}

			if (_volume > 127)
				_volume = 127;
			if (_volume < 1)
				_volume = 1;
			channel[ch].main_rdy_volume = (uint8_t) _volume;

			uint8_t vc;
			if (channel[ch].main_rdy_usealt)
				vc = channel[ch].alt_voice;	//	sendMidiGEN(channel[ch].alt_voice ,channel[ch].main_rdy_volume);
			else
				vc = channel[ch].main_voice;//	sendMidiGEN(channel[ch].main_voice,channel[ch].main_rdy_volume);

//#define DEBUG_ADC
#ifdef DEBUG_ADC
			  sprintf(buffer_out, "\r\n 0- %d 1 - %d 2 - %d 3 - %d 4 - %d 5 - %d", adc_val[0], adc_val[1], adc_val[2], adc_val[3], adc_val[4], adc_val[5]);
			  sendUart(buffer_out);
#endif
			sendMidi(vc, channel[ch].main_rdy_volume);
			channel[ch].main_last_on_voice = vc;
			channel[ch].main_last_on_time = HAL_GetTick();

			sendDebug(ch, 0);
		}

		if (channel[ch].aux_rdy) {
			channel[ch].aux_rdy = 0;
			sendDebug(ch, 1);

			switch (channel[ch].chnl_type) {
			case CYMBAL_HIHAT:
				if (channel[ch].aux_rdy_state == CHANNEL_PEDAL_PRESSED)
					sendMidiHHPedalOn();
				//				  else
				//					  sendMidiGEN(channel[ch].main_voice, 5);
				break;

			case CYMBAL_MUTE:
				if (channel[ch].aux_rdy_state == CHANNEL_PEDAL_PRESSED)
					sendMidi2(channel[ch].main_voice, 1, channel[ch].main_voice,
							0);
				break;

			case CYMBAL_2_ZONE:
				sendMidi2(channel[ch].main_voice, 1, channel[ch].main_voice, 0);
				break;

				// INDEPENDENT AUX INPUTS
			default:
				if (channel[ch].aux_type == AUX_TYPE_PAD)
					sendMidi2(channel[ch].aux_voice, 100, channel[ch].aux_voice,
							0);
				else { //PEDAL
					   // PEDAL pressed
					if (channel[ch].aux_rdy_state == CHANNEL_PEDAL_PRESSED)
						sendMidi2(channel[ch].aux_voice, 100,
								channel[ch].aux_voice, 0);
					// PEDAL RELEASED... IN CASE
					//					  else
					//						  sendMidi2(channel[ch].aux_voice, 1, channel[ch].aux_voice,0);
				}
			}
		}
		// send off command if needed
		if (channel[ch].main_last_on_voice > 0) {
			if (HAL_GetTick()
					> (channel[ch].main_last_on_time + OFF_DELAY_MS)) {
				sendMidi(channel[ch].main_last_on_voice, 0);
				channel[ch].main_last_on_voice = 0;
			}
		}
	}
}

void tx_midi(uint8_t *_buffer, uint16_t len) {
	uint8_t rt = USBD_BUSY;

	while (rt == USBD_BUSY) {
		rt = CDC_Transmit_FS(_buffer, len);
	};

	TIM2->CNT = 0; // restart active sense timer
}

void sendDebug(uint8_t _ch, uint8_t _aux)
{
	uint8_t voice;
	uint8_t volume;
	uint8_t length;

	if (_aux) {
		voice = channel[_ch].aux_voice;

		sprintf(buffer_out, ">>>AUX %d: %X %d [%d %d]\n", _ch, voice,
				channel[_ch].aux_rdy_state, channel[_ch].main_peaking,
				channel[_ch].aux_status);
	} else {
		if (channel[_ch].main_rdy_usealt)
			voice = channel[_ch].alt_voice;
		else
			voice = channel[_ch].main_voice;
		volume = channel[_ch].main_rdy_volume;
		length = channel[_ch].main_rdy_length;
		sprintf(buffer_out,
				">>MAIN %d: voice %X (alt:%d), vol %d (%u/4096) t=%u; AUX = %d\n",
				_ch, voice, channel[_ch].alt_voice, volume,
				channel[_ch].main_rdy_height, length, channel[_ch].aux_status);
	}
	sendUart(buffer_out);

	HAL_GPIO_TogglePin(LED2_GPIO_Port, LED2_Pin);
}

// READ Diginal state of aux channels
void getAuxState (GPIO_PinState *_state){
	_state[0] = HAL_GPIO_ReadPin(DD0_GPIO_Port, DD0_Pin);
	_state[1] = HAL_GPIO_ReadPin(DD1_GPIO_Port, DD1_Pin);
	_state[2] = HAL_GPIO_ReadPin(DD2_GPIO_Port, DD2_Pin);
	_state[3] = HAL_GPIO_ReadPin(DD3_GPIO_Port, DD3_Pin);

	_state[4] = HAL_GPIO_ReadPin(DD4_GPIO_Port, DD4_Pin);
	_state[5] = HAL_GPIO_ReadPin(DD5_GPIO_Port, DD5_Pin);
//	_state[6] = HAL_GPIO_ReadPin(DIG_IN7_GPIO_Port, DIG_IN7_Pin);
//	_state[7] = 0; //HAL_GPIO_ReadPin(DIG_IN8_GPIO_Port, DIG_IN8_Pin);

//	_state[8] = HAL_GPIO_ReadPin(DIG_IN9_GPIO_Port, DIG_IN9_Pin);
//	_state[9] = 0;
}

uint8_t Save_Setting(uint8_t _rst)
{
	uint32_t SavingBuff[64];
	uint8_t i;
	uint32_t error = 0;
	uint64_t val = 0;

	FLASH_EraseInitTypeDef FLASH_EraseInitStruct = {
			.TypeErase = FLASH_TYPEERASE_SECTORS,
			.Banks = FLASH_BANK_1,
			.Sector = 6,
			.NbSectors = 1
	};

	for (i = 0; i < 64; i++)
		SavingBuff[i] = 0;
	if (_rst == 0)
		SavingBuff[0] = 0xC4C0FFEE; // load settings marker
	else
		SavingBuff[0] = 0xFFFFFFFF; // do not load marker
	SavingBuff[1] = 0xBB;

	for (i = 1; i < 10; i++) {
		// channel configuration settings
		SavingBuff[2 * i] = (channel[i - 1].main_voice & 0xFF) * 0x01000000;
		SavingBuff[2 * i] += (channel[i - 1].aux_voice & 0xFF) * 0x00010000;
		SavingBuff[2 * i] += (channel[i - 1].alt_voice & 0xFF) * 0x00000100;
		SavingBuff[2 * i] += (channel[i - 1].chnl_type & 0xFF);
		// channel parameter settings
		SavingBuff[2 * i + 1] = (channel[i - 1].peak_volume_norm & 0xFF) * 0x01000000;
		SavingBuff[2 * i + 1] += (channel[i - 1].peak_min_length & 0xFF) * 0x00010000;
		SavingBuff[2 * i + 1] += (channel[i - 1].peak_max_length & 0xFF) * 0x00000100;
//		SavingBuff[2*i + 1] += (channel[i-1].peak2peak  & 0xFF);
	}

	HAL_StatusTypeDef err;
	uint8_t st = 0;
	err = HAL_FLASH_Unlock();
	if (err != HAL_OK)
		st += 0b10000000;
	__HAL_FLASH_CLEAR_FLAG (FLASH_FLAG_EOP | FLASH_FLAG_OPERR | FLASH_FLAG_WRPERR
							| FLASH_FLAG_PGAERR | FLASH_FLAG_PGSERR);

	err = HAL_FLASHEx_Erase(&FLASH_EraseInitStruct, &error);
	if (err != HAL_OK)
		st += 0b01000000;

	for (i = 0; i < 32; i++) {
		val = (((uint64_t) SavingBuff[i * 2 + 1]) << 32) + SavingBuff[i * 2];
		if (HAL_FLASH_Program(FLASH_TYPEPROGRAM_DOUBLEWORD,
				FLASH_USER_START_ADDR + 8 * i, val) != HAL_OK)
			st += 1;
	}
	if (HAL_FLASH_Lock() != HAL_OK)
		st += 0b00100000;

	for (i = 0; i < 64; i++)
		saved_config[0] = 0;

	return st;
}

uint8_t Load_Setting()
{
	uint8_t i;

	for (i=0;i<64;i++){
		saved_config[i] = *(userConfig+i);
	}

	if (saved_config[0] != 0xC4C0FFEE) return 0;

	for (i = 1; i < 10; i++){
		channel[i-1].main_voice = 0xff & (uint8_t)(saved_config[2*i]>>24);
		channel[i-1].aux_voice 	= 0xff & (uint8_t)(saved_config[2*i]>>16);
		channel[i-1].alt_voice 	= 0xff & (uint8_t)(saved_config[2*i]>>8);
		channel[i-1].chnl_type 	= 0xff & (uint8_t)(saved_config[2*i]);

		//		channel[i-1].peak_threshold 	= 0xff & (uint8_t)(saved_config[2*i+1]>>24);
		channel[i-1].peak_volume_norm 	= 0xff & (uint8_t)(saved_config[2*i+1]>>24);
		channel[i-1].peak_min_length 	= 0xff & (uint8_t)(saved_config[2*i+1]>>16);
		channel[i-1].peak_max_length 	= 0xff & (uint8_t)(saved_config[2*i+1]>>8);
//		channel[i-1].time_between_peaks = 0xff & (uint8_t)(saved_config[2*i+1]);
	}

	sprintf(buffer_out, "........ Previous settings: .......\n%08lX %08lX %08lX %08lX\n%08lX %08lX %08lX %08lX\n%08lX %08lX %08lX %08lX\n%08lX %08lX %08lX %08lX\n%08lX %08lX %08lX %08lX\n",
	  saved_config[0] ,saved_config[1] ,saved_config[2] ,saved_config[3] ,
	  saved_config[4] ,saved_config[5] ,saved_config[6] ,saved_config[7] ,
	  saved_config[8] ,saved_config[9] ,saved_config[10],saved_config[11],
	  saved_config[12],saved_config[13],saved_config[14],saved_config[15],
	  saved_config[16],saved_config[17],saved_config[18],saved_config[19]);

		sendUart(buffer_out);
	  HAL_Delay(500);

	return 1;
}

int get_num_from_uart(uint8_t _len){
	uint8_t i;
	int val = 0;
	for (i = 0; i<_len+1; i++)
		buffer_in[i] = 0;

	HAL_UART_Receive_IT (&huart2, &buffer_in[0], _len);
	while (buffer_in[0] == 0) {HAL_Delay(1);};
	HAL_Delay(2); // wait for the rest of the message

	val = 0;
	for (i = 0; i<_len; i++){
		if ((buffer_in[i] == 0) || (buffer_in[i] == 10) || (buffer_in[i] == 13)) break;
		if ((buffer_in[0]>='0') && (buffer_in[0]<='9'))
			val = val*10 + (buffer_in[i]-'0');
		else{
			val = -1;
			break;
		}
	}
	HAL_UART_AbortReceive(&huart2);
	return val;
}

uint8_t UartConfigDialog(){

	int val = 0;

	uint8_t rtrn = 0;

	sendUart("\nConfig mode.\nType number of the pad [1..9], or hit the drum (x - reset to default):\n");

	buffer_in[0] = 0;
	HAL_UART_Receive_IT (&huart2, &buffer_in[0], 1);

	uint8_t chnl = 10;
	while (chnl == 10){
		  for (uint8_t ch = 0; ch < NUMBER_OF_CHANNELS; ch++)
			  if ((channel[ch].main_rdy)||(channel[ch].aux_rdy)){
				  channel[ch].main_rdy = 0;
				  channel[ch].aux_rdy = 0;
				  chnl = ch;
				  HAL_UART_AbortReceive(&huart2);
			  }
		  if (buffer_in[0]>0){
			  if ((buffer_in[0]>='1') && (buffer_in[0]<='9'))
				  chnl = buffer_in[0]-'1';
			  else
				  chnl = 255;

			  if (buffer_in[0]=='x')
				  // reset to default
				  return 99;
		  }
	}

	if (chnl == 255) {
		HAL_UART_AbortReceive(&huart2);
		sendUart("Ciao\n");
		config_Mode[0] = 0;
		HAL_UART_Receive_IT (&huart2, &config_Mode[0], 1);
		return 0;
	}

	// got the correct channel.
	// print current values
	sprintf(buffer_out, "Current values CH#%d:\n\tVoices: main %d, aux %d, alt %d\n\tTimings: peak min %d max %d\n\tChannel type: %d,volume norm %d\n",
			chnl+1, channel[chnl].main_voice, channel[chnl].aux_voice, channel[chnl].alt_voice,
			(int)channel[chnl].peak_min_length, (int)channel[chnl].peak_max_length,
			channel[chnl].aux_type, (int)channel[chnl].peak_volume_norm);
	sendUart(buffer_out);
	HAL_Delay(200);

	// Starting to change the values
	// main voicepeak_volume_norm
	sprintf(buffer_out, "\nCH#%d Change main voice from %d:\t",chnl+1, channel[chnl].main_voice);
	sendUart(buffer_out);
	HAL_Delay(200);

	 val = get_num_from_uart(2);
	if ((val>25)&&(val<90)){
		channel[chnl].main_voice = val & 0xFF;
		sprintf(buffer_out, "New main voice: %d\n", channel[chnl].main_voice);
	}else
		sprintf(buffer_out, "Keeping the old value: %d\n", channel[chnl].main_voice);
	sendUart(buffer_out);
	HAL_Delay(200);

	// aux voice
	sprintf(buffer_out, "\nCH#%d Change aux input voice from %d:\t",chnl+1, channel[chnl].aux_voice);
	sendUart(buffer_out);
	HAL_Delay(200);

	 val = get_num_from_uart(2);
	if ((val>25)&&(val<90)){
		channel[chnl].aux_voice = val & 0xFF;
		sprintf(buffer_out, "New aux voice: %d\n", channel[chnl].aux_voice);
	}else
		sprintf(buffer_out, "Keeping the old value: %d\n", channel[chnl].aux_voice);
	sendUart(buffer_out);
	HAL_Delay(200);

	// main alt voice
	sprintf(buffer_out, "\nCH#%d Change main alt voice (when pedal pressed) from %d:\t",chnl+1, channel[chnl].alt_voice);
	sendUart(buffer_out);
	HAL_Delay(200);

	 val = get_num_from_uart(2);
	if ((val>25)&&(val<90)){
		channel[chnl].alt_voice = val & 0xFF;
		sprintf(buffer_out, "New alt voice: %d\n", channel[chnl].alt_voice);
	}else
		sprintf(buffer_out, "Keeping the old value: %d\n", channel[chnl].alt_voice);
	sendUart(buffer_out);
	HAL_Delay(200);

	// channel type
	sprintf(buffer_out, "\nCH#%d Change aux type from %d to:\n\tAUX - auto, MAIN - Mesh(0), Mesh with rim(1), or Cymbal(2),\n\t HiHat(3) with pedal, Cymbal with 2 zones(4), Cymabal with mute button(5)\n", chnl+1,  channel[chnl].chnl_type);
	sendUart(buffer_out);
	HAL_Delay(200);

	val = get_num_from_uart(1);
	if ((val>=0)&&(val<=4)){
		channel[chnl].chnl_type = val & 0xFF;
		sprintf(buffer_out, "New channel type: %d\n", channel[chnl].chnl_type);
	}else
		sprintf(buffer_out, "Keeping the old value: %d\n", channel[chnl].chnl_type);
	sendUart(buffer_out);
	HAL_Delay(200);

	rtrn = 1;
	sprintf(buffer_out, "\nAdjust timing? y - yes, n - save settings and exit\n");
	sendUart(buffer_out);
	HAL_Delay(200);

	buffer_in[0] = 0;
	HAL_UART_Receive_IT (&huart2, &buffer_in[0], 1);
	while (buffer_in[0] == 0){HAL_Delay(1);}
	if (buffer_in[0] == 'y'){

		// Peak threshold
		sprintf(buffer_out, "\nCH#%d Volume norm = %d (default 50, 0..255) (full volume point, 100~4096). New:\t",chnl+1,(int) channel[chnl].peak_volume_norm);
		sendUart(buffer_out);
		HAL_Delay(200);

		val = get_num_from_uart(3);
		if ((val>0)&&(val<256)){
			channel[chnl].peak_volume_norm = val;
			sprintf(buffer_out, "New threshold = %d\n", (int)channel[chnl].peak_volume_norm);
		}else
			sprintf(buffer_out, "Keeping the old value: %d\n", (int)channel[chnl].peak_volume_norm);
		sendUart(buffer_out);
		HAL_Delay(200);

		// min peak len
		sprintf(buffer_out, "\nCH#%d Peak min length = %d (default mesh 15, cymbal 4, 1..99) [x0.1ms]. New:\t",chnl+1,(int) channel[chnl].peak_min_length);
		sendUart(buffer_out);
		HAL_Delay(200);

		val = get_num_from_uart(2);
		if ((val>0)&&(val<100)){
			channel[chnl].peak_min_length = val;
			sprintf(buffer_out, "New min length = %d\n", (int)channel[chnl].peak_min_length);
		}else
			sprintf(buffer_out, "Keeping the old value: %d\n", (int)channel[chnl].peak_min_length);
		sendUart(buffer_out);
		HAL_Delay(200);

		// max peak len
		sprintf(buffer_out, "\nCH#%d Peak max length = %d (default 200, 1..255) [x0.1ms]. New:\t",chnl+1, (int)channel[chnl].peak_max_length);
		sendUart(buffer_out);
		HAL_Delay(200);

		val = get_num_from_uart(3);
		if ((val>0)&&(val<256)){
			channel[chnl].peak_max_length = val;
			sprintf(buffer_out, "New max length = %d\n", (int)channel[chnl].peak_max_length);
		}else
			sprintf(buffer_out, "Keeping the old value: %d\n", (int)channel[chnl].peak_max_length);
		sendUart(buffer_out);
		HAL_Delay(200);
		rtrn = 2;
	}
	return rtrn;
}

/* USER CODE END 4 */

void Error_Handler(void)
{
  __disable_irq();
  while (1)
  {
  }
}
